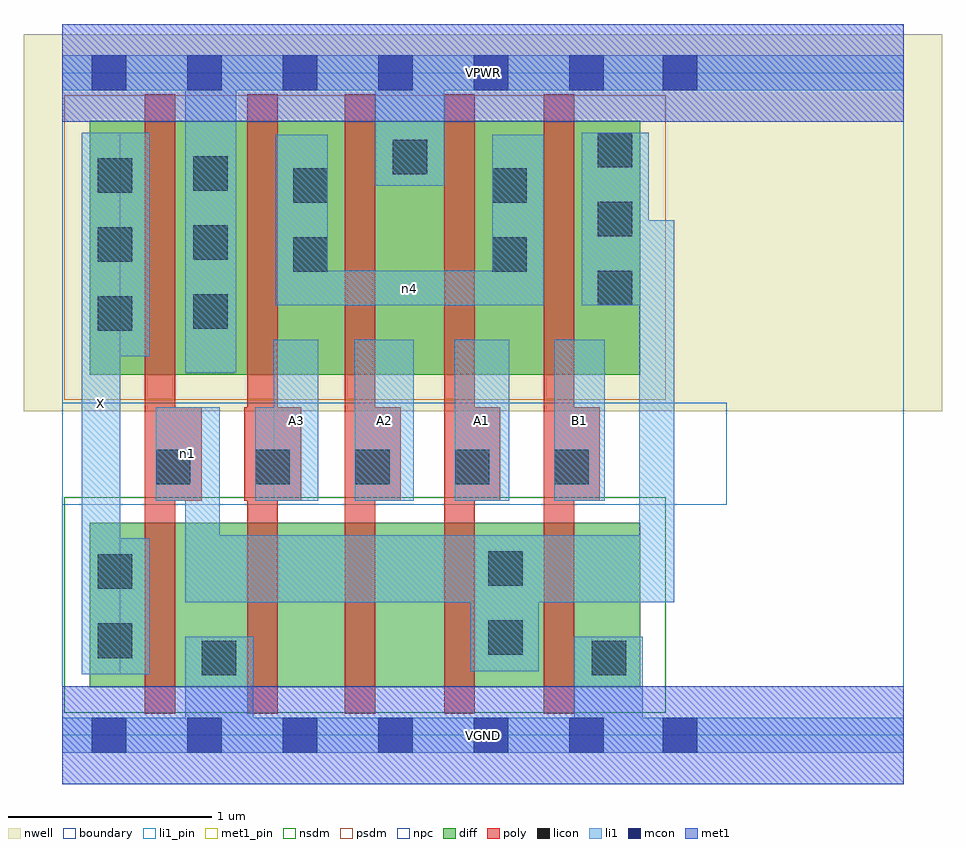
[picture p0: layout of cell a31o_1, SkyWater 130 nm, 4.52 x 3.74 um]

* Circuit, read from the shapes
.subckt a31o_1 A1 A2 A3 B1 VGND VPWR X n1 n4
XM1 VGND n1 X VSUBS sky130_fd_pr__nfet_01v8 w=0.81 l=0.15
XM2 n2 A3 VGND VSUBS sky130_fd_pr__nfet_01v8 w=0.81 l=0.15
XM3 n3 A2 n2 VSUBS sky130_fd_pr__nfet_01v8 w=0.81 l=0.15
XM4 n1 A1 n3 VSUBS sky130_fd_pr__nfet_01v8 w=0.81 l=0.15
XM5 VGND B1 n1 VSUBS sky130_fd_pr__nfet_01v8 w=0.81 l=0.15
XM6 VPWR n1 X n5 sky130_fd_pr__pfet_01v8 w=1.25 l=0.15
XM7 n4 A3 VPWR n5 sky130_fd_pr__pfet_01v8 w=1.25 l=0.15
XM8 VPWR A2 n4 n5 sky130_fd_pr__pfet_01v8 w=1.25 l=0.15
XM9 n4 A1 VPWR n5 sky130_fd_pr__pfet_01v8 w=1.25 l=0.15
XM10 n1 B1 n4 n5 sky130_fd_pr__pfet_01v8 w=1.25 l=0.15
.ends

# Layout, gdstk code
import gdstk
lib = gdstk.Library(unit=1e-6, precision=1e-09)
def R(c, l, rs):  # rectangles x0, y0, x1, y1
    for r in rs: c.add(gdstk.rectangle(r[:2], r[2:], *l))
def A(c, l, x, y, w, h, nx, ny, dx, dy):  # array of equal rectangles
    R(c, l, [(x+i*dx, y+j*dy, x+i*dx+w, y+j*dy+h) for i in range(nx) for j in range(ny)])
nwell = (64, 20)
diff = (65, 20)
poly = (66, 20)
licon = (66, 44)
li1_pin = (67, 16)
li1 = (67, 20)
mcon = (67, 44)
met1_pin = (68, 16)
met1 = (68, 20)
nsdm = (93, 44)
psdm = (94, 20)
npc = (95, 20)
boundary = (235, 4)

a31o_1 = lib.new_cell('a31o_1')
R(a31o_1, nwell, [(-0.19,1.595,4.33,3.45), (0,1.595,4.14,3.45)])
R(a31o_1, diff, [(0.135,0.235,2.845,1.045), (0.135,1.775,2.845,3.025)])
A(a31o_1, poly, 1.39, 0.105, 0.15, 3.05, 3, 1, 0.49, 0)
A(a31o_1, poly, 1.39, 1.155, 0.275, 0.46, 3, 1, 0.49, 0)
R(a31o_1, poly, [(0.405,0.105,0.555,3.155), (0.91,0.105,1.06,3.155), (0.405,1.155,0.685,1.615), (0.895,1.155,1.175,1.615)])
A(a31o_1, licon, 0.46, 1.235, 0.17, 0.17, 5, 1, 0.49, 0)
A(a31o_1, licon, 0.175, 1.99, 0.17, 0.17, 1, 3, 0, 0.34)
A(a31o_1, licon, 0.645, 2, 0.17, 0.17, 1, 3, 0, 0.34)
A(a31o_1, licon, 2.635, 2.115, 0.17, 0.17, 1, 3, 0, 0.34)
R(a31o_1, licon, [(0.685,0.295,0.855,0.465), (2.605,0.295,2.775,0.465), (0.175,0.38,0.345,0.55), (2.095,0.395,2.265,0.565), (0.175,0.72,0.345,0.89), (2.095,0.735,2.265,0.905), (1.135,2.28,1.305,2.45), (2.115,2.28,2.285,2.45), (1.135,2.62,1.305,2.79), (2.115,2.62,2.285,2.79), (1.625,2.76,1.795,2.93)])
R(a31o_1, li1_pin, [(0.095,0.3,0.285,2.965), (1.04,1.155,1.26,1.945), (1.44,1.155,1.73,1.945), (1.93,1.155,2.2,1.945), (2.42,1.155,2.67,1.945)])
R(a31o_1, li1, [(0,-0.085,4.14,0.085), (0.605,-0.085,0.94,0.485), (2.52,-0.085,2.855,0.485), (0.095,0.3,0.285,2.965), (0.095,0.3,0.43,0.97), (2.01,0.315,2.345,0.985), (0.605,0.655,3.01,0.985), (0.605,0.655,0.775,1.615), (2.84,0.655,3.01,2.535), (0.46,1.155,0.775,1.615), (0.95,1.155,1.26,1.615), (1.04,1.155,1.26,1.945), (1.44,1.155,1.73,1.945), (1.93,1.155,2.2,1.945), (2.42,1.155,2.67,1.945), (0.605,1.785,0.855,3.345), (0.095,1.865,0.43,2.965), (1.05,2.115,2.37,2.285), (1.05,2.115,1.305,2.955), (2.115,2.115,2.37,2.955), (2.555,2.115,2.885,2.965), (1.54,2.705,1.88,3.345), (0,3.175,4.14,3.345)])
A(a31o_1, mcon, 0.145, -0.085, 0.17, 0.17, 6, 2, 0.47, 3.26)
R(a31o_1, mcon, [(2.955,-0.085,3.125,0.085), (2.955,3.175,3.125,3.345)])
R(a31o_1, met1_pin, [(0,-0.24,4.14,0.24), (0,3.02,4.14,3.5)])
R(a31o_1, met1, [(0,-0.24,4.14,0.24), (0,3.02,4.14,3.5)])
R(a31o_1, nsdm, [(0.01,0.11,2.97,1.17)])
R(a31o_1, psdm, [(0.01,1.65,2.97,3.15)])
R(a31o_1, npc, [(0,1.135,3.27,1.635)])
R(a31o_1, boundary, [(0,0,4.14,3.26)])
a31o_1.add(gdstk.Label('A1', (2.065,1.55), layer=67, texttype=5))
a31o_1.add(gdstk.Label('A2', (1.585,1.55), layer=67, texttype=5))
a31o_1.add(gdstk.Label('A3', (1.15,1.55), layer=67, texttype=5))
a31o_1.add(gdstk.Label('B1', (2.545,1.55), layer=67, texttype=5))
a31o_1.add(gdstk.Label('X', (0.19,1.632), layer=67, texttype=5))
a31o_1.add(gdstk.Label('n4', (1.71,2.2), layer=67, texttype=5))
a31o_1.add(gdstk.Label('n1', (0.617,1.385), layer=67, texttype=5))
a31o_1.add(gdstk.Label('VPWR', (2.07,3.26), layer=68, texttype=5))
a31o_1.add(gdstk.Label('VGND', (2.07,0), layer=68, texttype=5))
a31o_1.add(gdstk.Label('A1', (2.065,1.55), layer=67, texttype=16))
a31o_1.add(gdstk.Label('A2', (1.585,1.55), layer=67, texttype=16))
a31o_1.add(gdstk.Label('A3', (1.15,1.55), layer=67, texttype=16))
a31o_1.add(gdstk.Label('B1', (2.545,1.55), layer=67, texttype=16))
a31o_1.add(gdstk.Label('X', (0.19,1.632), layer=67, texttype=16))
a31o_1.add(gdstk.Label('VPWR', (2.07,3.26), layer=68, texttype=16))
a31o_1.add(gdstk.Label('VGND', (2.07,0), layer=68, texttype=16))

lib.write_gds('a31o_1.gds')
